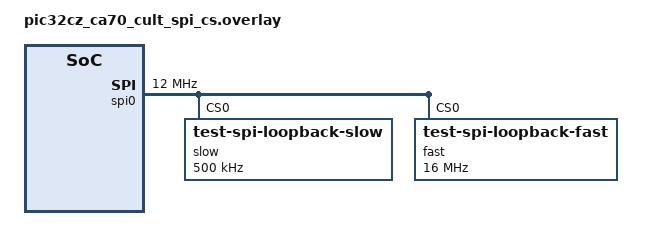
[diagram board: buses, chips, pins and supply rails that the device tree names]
/*
 * SPDX-FileCopyrightText: Copyright (c) 2026 Microchip Technology Inc.
 *
 * SPDX-License-Identifier: Apache-2.0
 */

/* SPI driven CS */
&spi0 {
	clock-frequency = <12000000>;
	/delete-property/ cs-gpios;
	pinctrl-0 = <&ext1_header_spi>;
	status = "okay";

	slow@0 {
		compatible = "test-spi-loopback-slow";
		reg = <0>;
		spi-max-frequency = <500000>;
	};

	fast@0 {
		compatible = "test-spi-loopback-fast";
		reg = <0>;
		spi-max-frequency = <16000000>;
	};
};
